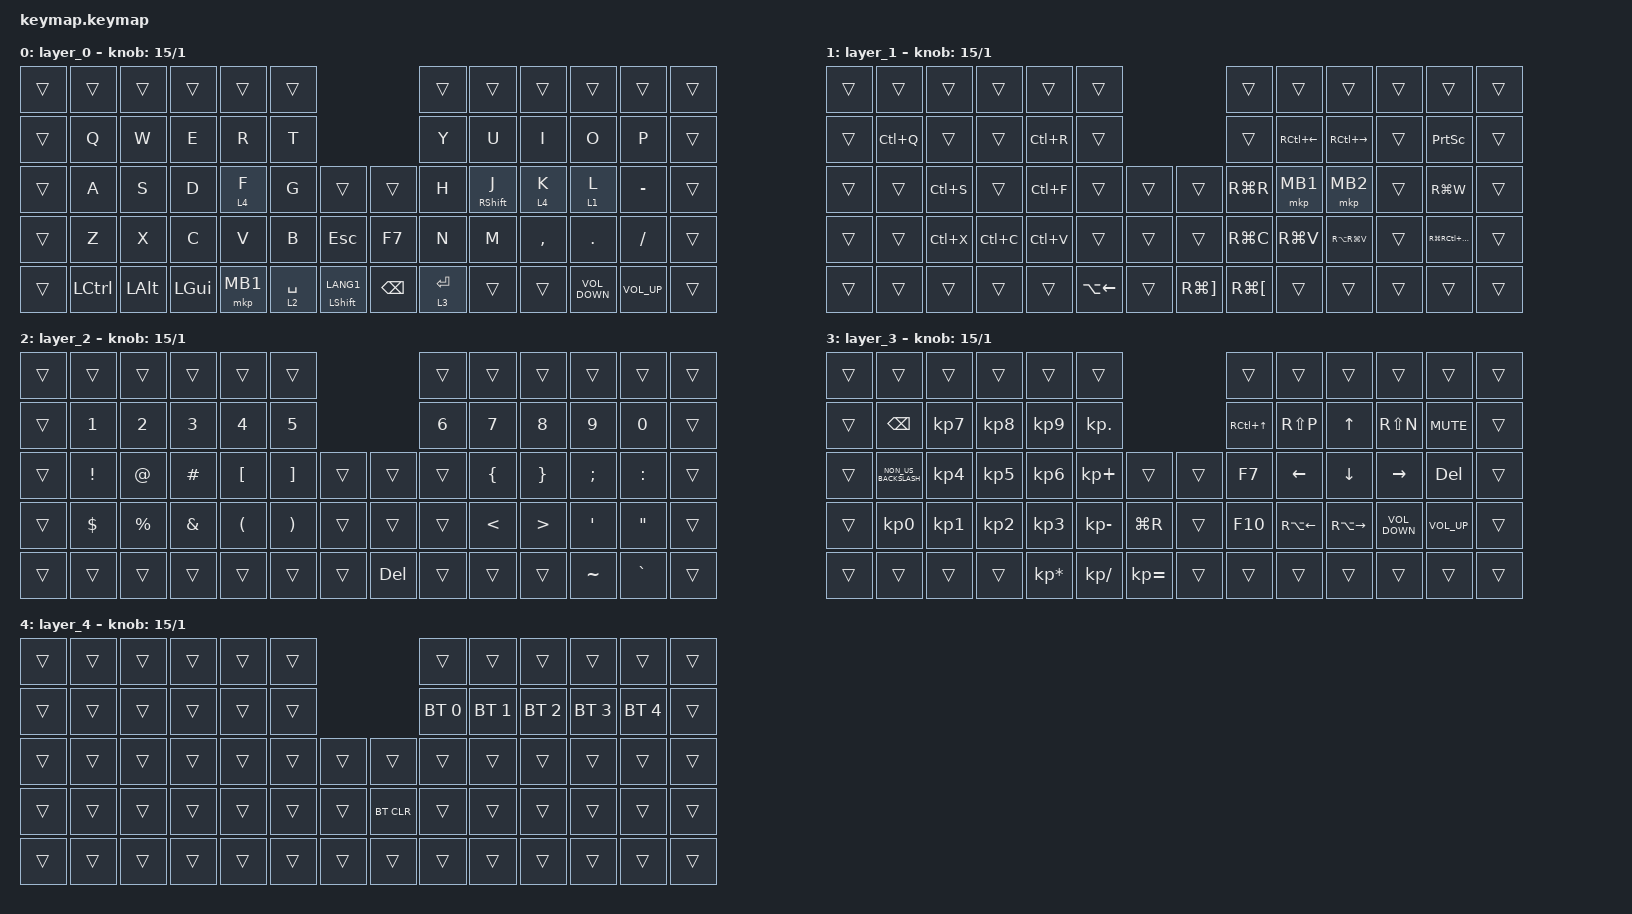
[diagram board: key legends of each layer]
#include <behaviors/hires_dial.dtsi>
#include <behaviors.dtsi>
#include <dt-bindings/zmk/bt.h>
#include <dt-bindings/zmk/keys.h>
#include <dt-bindings/zmk/pointing.h>

/ {
    combos {
        compatible = "zmk,combos";

        studio_unlock {
            bindings = <&studio_unlock>;
            key-positions = <44 45>;
        };

        esc {
            bindings = <&kp ESCAPE>;
            key-positions = <58 44>;
        };

        click3 {
            bindings = <&mkp MB3>;
            key-positions = <33 34>;
        };

        click2 {
            bindings = <&mkp MB2>;
            key-positions = <35 36>;
        };

        lang2 {
            bindings = <&kp LANG2>;
            key-positions = <28 27>;
        };

        blue {
            bindings = <&lt 4 ESCAPE>;
            key-positions = <53 54 55>;
        };
    };

    keymap {
        compatible = "zmk,keymap";

        layer_0 {
            bindings = <
&trans  &trans     &trans        &trans        &trans    &trans                                            &trans       &trans        &trans     &trans             &trans           &trans
&trans  &kp Q      &kp W         &kp E         &kp R     &kp T                                             &kp Y        &kp U         &kp I      &kp O              &kp P            &trans
&trans  &kp A      &kp S         &kp D         &lt 4 F   &kp G        &trans                &trans         &kp H        &mt RSHIFT J  &lt 4 K    &lt 1 L            &kp MINUS        &trans
&trans  &kp Z      &kp X         &kp C         &kp V     &kp B        &kp ESC               &kp F7         &kp N        &kp M         &kp COMMA  &kp DOT            &kp SLASH        &trans
&trans  &kp LCTRL  &kp LEFT_ALT  &kp LEFT_GUI  &mkp MB1  &lt 2 SPACE  &mt LEFT_SHIFT LANG1  &kp BACKSPACE  &lt 3 ENTER  &trans        &trans     &kp C_VOLUME_DOWN  &kp C_VOLUME_UP  &trans
            >;
        };

        layer_1 {
            bindings = <
&trans  &trans     &trans     &trans     &trans     &trans                                             &trans                &trans              &trans               &trans  &trans                    &trans
&trans  &kp LC(Q)  &trans     &trans     &kp LC(R)  &trans                                             &trans                &kp RC(LEFT_ARROW)  &kp RC(RIGHT_ARROW)  &trans  &kp PRINTSCREEN           &trans
&trans  &trans     &kp LC(S)  &trans     &kp LC(F)  &trans              &trans  &trans                 &kp RG(R)             &mkp MB1            &mkp MB2             &trans  &kp RG(W)                 &trans
&trans  &trans     &kp LC(X)  &kp LC(C)  &kp LC(V)  &trans              &trans  &trans                 &kp RG(C)             &kp RG(V)           &kp RA(RG(V))        &trans  &kp RG(RC(RS(NUMBER_4)))  &trans
&trans  &trans     &trans     &trans     &trans     &kp LA(LEFT_ARROW)  &trans  &kp RG(RIGHT_BRACKET)  &kp RG(LEFT_BRACKET)  &trans              &trans               &trans  &trans                    &trans
            >;
        };

        layer_2 {
            bindings = <
&trans  &trans        &trans        &trans         &trans                &trans                                  &trans        &trans          &trans            &trans         &trans             &trans
&trans  &kp NUMBER_1  &kp NUMBER_2  &kp NUMBER_3   &kp NUMBER_4          &kp N5                                  &kp NUMBER_6  &kp N7          &kp N8            &kp N9         &kp N0             &trans
&trans  &kp EXCL      &kp AT        &kp HASH       &kp LEFT_BRACKET      &kp RIGHT_BRACKET      &trans  &trans   &trans        &kp LEFT_BRACE  &kp RIGHT_BRACE   &kp SEMICOLON  &kp COLON          &trans
&trans  &kp DOLLAR    &kp PERCENT   &kp AMPERSAND  &kp LEFT_PARENTHESIS  &kp RIGHT_PARENTHESIS  &trans  &trans   &trans        &kp LESS_THAN   &kp GREATER_THAN  &kp SQT        &kp DOUBLE_QUOTES  &trans
&trans  &trans        &trans        &trans         &trans                &trans                 &trans  &kp DEL  &trans        &trans          &trans            &kp TILDE      &kp GRAVE          &trans
            >;
        };

        layer_3 {
            bindings = <
&trans  &trans                &trans           &trans           &trans           &trans                              &trans            &trans              &trans               &trans             &trans           &trans
&trans  &kp BACKSPACE         &kp KP_NUMBER_7  &kp KP_NUMBER_8  &kp KP_NUMBER_9  &kp KP_DOT                          &kp RC(UP_ARROW)  &kp RS(P)           &kp UP_ARROW         &kp RS(N)          &kp K_MUTE       &trans
&trans  &kp NON_US_BACKSLASH  &kp KP_NUMBER_4  &kp KP_NUMBER_5  &kp KP_NUMBER_6  &kp KP_PLUS   &trans        &trans  &kp F7            &kp LEFT_ARROW      &kp DOWN_ARROW       &kp RIGHT_ARROW    &kp DELETE       &trans
&trans  &kp KP_NUMBER_0       &kp KP_NUMBER_1  &kp KP_NUMBER_2  &kp KP_NUMBER_3  &kp KP_MINUS  &kp LG(R)     &trans  &kp F10           &kp RA(LEFT_ARROW)  &kp RA(RIGHT_ARROW)  &kp C_VOLUME_DOWN  &kp C_VOLUME_UP  &trans
&trans  &trans                &trans           &trans           &kp KP_ASTERISK  &kp KP_SLASH  &kp KP_EQUAL  &trans  &trans            &trans              &trans               &trans             &trans           &trans
            >;
        };

        layer_4 {
            bindings = <
&trans  &trans  &trans  &trans  &trans  &trans                      &trans        &trans        &trans        &trans        &trans        &trans
&trans  &trans  &trans  &trans  &trans  &trans                      &bt BT_SEL 0  &bt BT_SEL 1  &bt BT_SEL 2  &bt BT_SEL 3  &bt BT_SEL 4  &trans
&trans  &trans  &trans  &trans  &trans  &trans  &trans  &trans      &trans        &trans        &trans        &trans        &trans        &trans
&trans  &trans  &trans  &trans  &trans  &trans  &trans  &bt BT_CLR  &trans        &trans        &trans        &trans        &trans        &trans
&trans  &trans  &trans  &trans  &trans  &trans  &trans  &trans      &trans        &trans        &trans        &trans        &trans        &trans
            >;
        };
    };
};

/ {
    sensors {
        compatible = "zmk,keymap-sensors";
        sensors = <&hires_dial>;
        triggers-per-rotation = <20>;
    };
};

&hires_dial_encoder { sensor = <&hires_dial>; };

&hires_dial_scroll { sensor = <&hires_dial>; };

&hires_dial_hscroll { sensor = <&hires_dial>; };

&{/keymap/layer_0} { sensor-bindings = <&hires_dial_scroll 15 1>; };

&{/keymap/layer_1} { sensor-bindings = <&hires_dial_scroll 15 1>; };

&{/keymap/layer_2} { sensor-bindings = <&hires_dial_scroll 15 1>; };

&{/keymap/layer_3} { sensor-bindings = <&hires_dial_hscroll 15 1>; };

&{/keymap/layer_4} { sensor-bindings = <&hires_dial_scroll 15 1>; };
